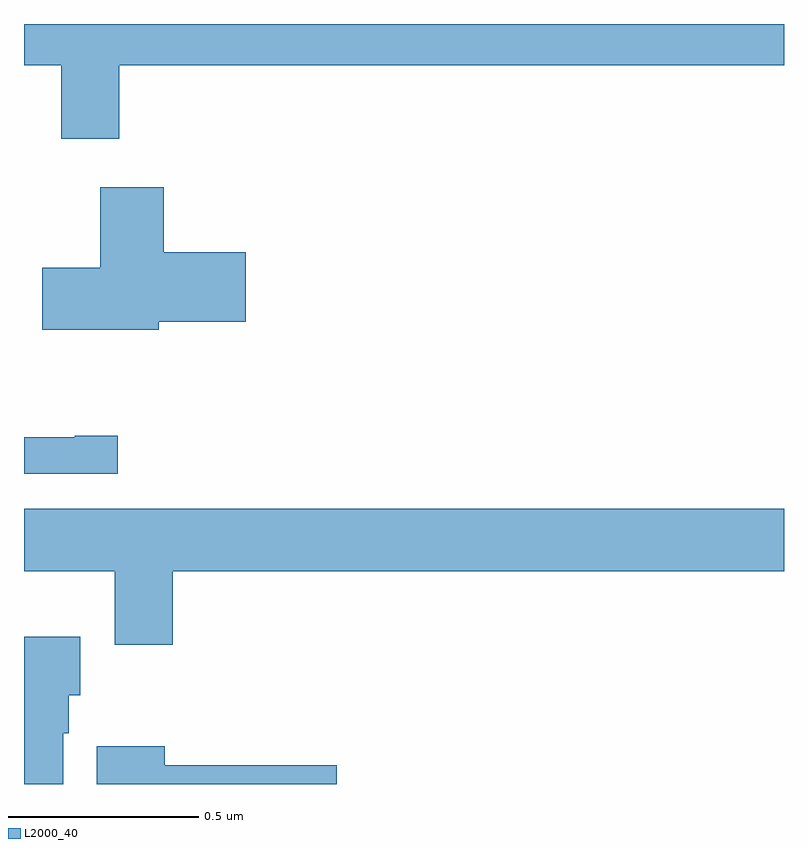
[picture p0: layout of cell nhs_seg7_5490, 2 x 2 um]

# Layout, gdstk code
import gdstk
lib = gdstk.Library(unit=1e-6, precision=1e-09)
def P(c, l, *ps):  # polygons
    for p in ps: c.add(gdstk.Polygon(p, *l))
L2000_40 = (2000, 40)

nhs_seg7_5490 = lib.new_cell('nhs_seg7_5490')
P(nhs_seg7_5490, L2000_40, [(186.251,1057.892),(188,1057.892),(188,1058),(186,1058),(186,1057.892),(186.098,1057.892),(186.098,1057.698),(186.251,1057.698)],
  [(186.355,1057.217),(186.583,1057.217),(186.583,1057.4),(186.368,1057.4),(186.368,1057.57),(186.2,1057.57),(186.2,1057.359),(186.048,1057.359),(186.048,1057.196),(186.355,1057.196)],
  [(186.247,1056.917),(186.134,1056.917),(186.134,1056.912),(186,1056.912),(186,1056.816),(186.247,1056.816)],
  [(186,1056.56),(186.239,1056.56),(186.239,1056.366),(186.392,1056.366),(186.392,1056.56),(188,1056.56),(188,1056.724),(186,1056.724)],
  [(186.103,1056.134),(186.118,1056.134),(186.118,1056.234),(186.148,1056.234),(186.148,1056.388),(186,1056.388),(186,1056),(186.103,1056)],
  [(186.823,1056.05),(186.37,1056.05),(186.37,1056.1),(186.191,1056.1),(186.191,1056),(186.823,1056)])

lib.write_gds('nhs_seg7_5490.gds')
